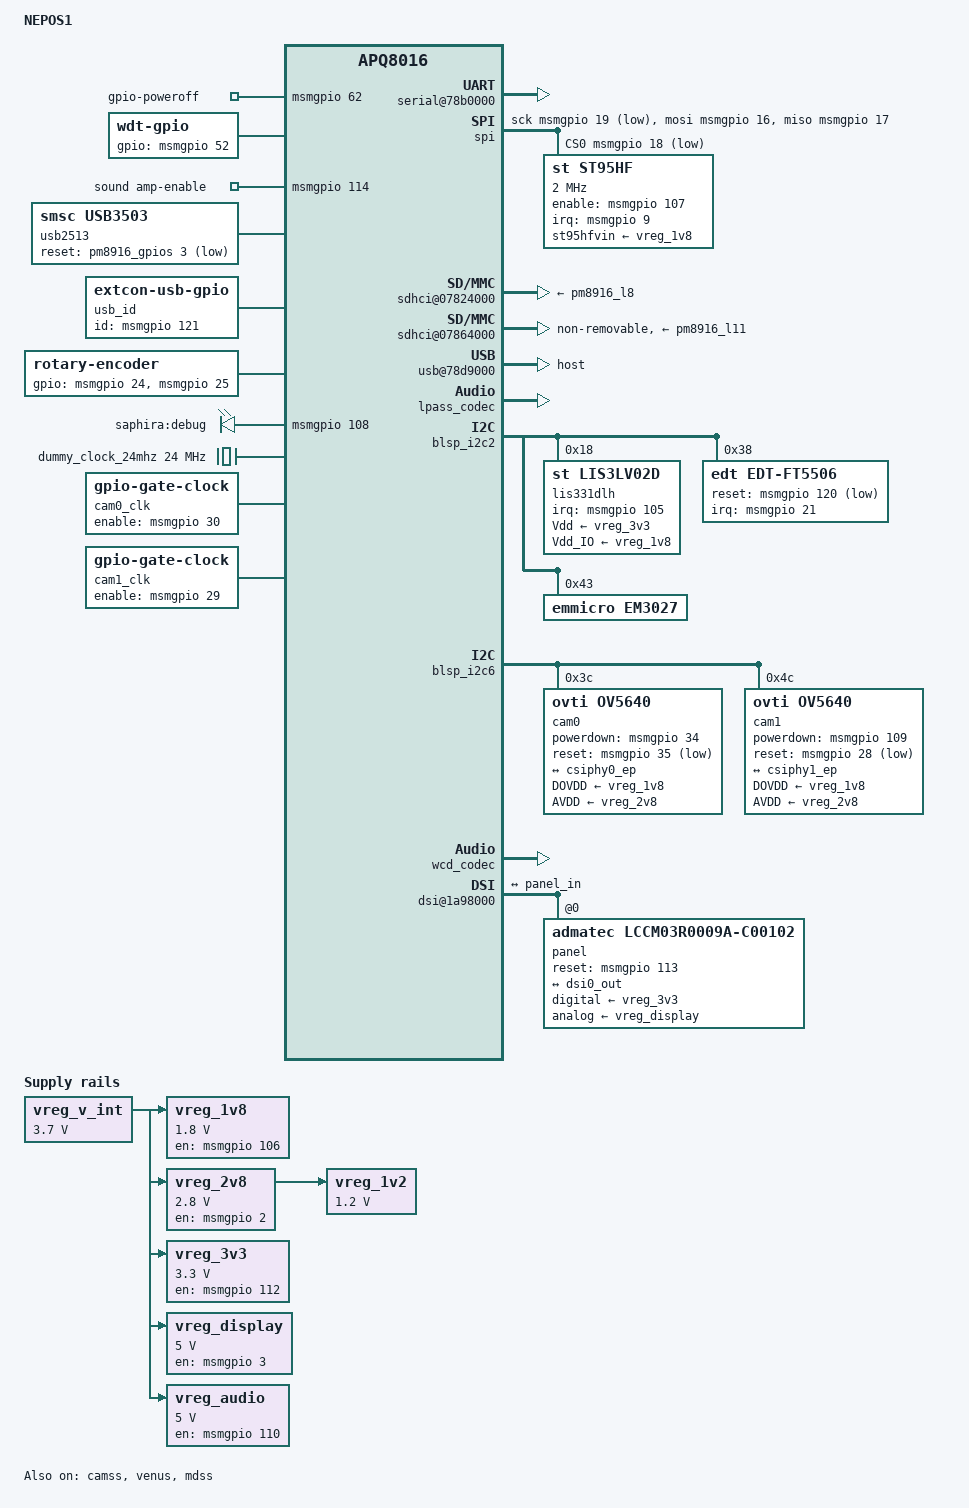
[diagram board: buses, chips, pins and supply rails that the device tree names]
/*
 * Device tree definition for Nepos Saphira tablet
 */

/dts-v1/;

#include "msm8916.dtsi"
#include "pm8916.dtsi"
#include "apq8016-nepos1-pins-0-0.dtsi"
#include "apq8016-sbc-pmic-pins.dtsi"
#include <dt-bindings/gpio/gpio.h>
#include <dt-bindings/input/input.h>
#include <dt-bindings/sound/apq8016-lpass.h>

/ {
	model = "NEPOS1";
	compatible = "qcom,apq8016-sbc", "qcom,apq8016", "qcom,sbc";

	aliases {
		serial0	= &blsp1_uart2;
		serial1	= &blsp1_uart1;
		usid0	= &pm8916_0;
		i2c0	= &blsp_i2c2;
		i2c1	= &blsp_i2c6;
		i2c3	= &blsp_i2c4;
		spi0	= &blsp_spi5;
		spi1	= &blsp_spi3;
	};

	chosen {
		stdout-path = "serial0";
	};

	reserved-memory {
		ramoops@bff00000{
			compatible = "ramoops";
			reg = <0x0 0xbff00000 0x0 0x100000>;

			record-size = <0x20000>;
			console-size = <0x20000>;
			ftrace-size = <0x20000>;
		};
	};

	soc {
		vreg_v_int: gpio_regulator@0 {
			compatible = "regulator-fixed";
			regulator-name = "VIN supply";
			regulator-min-microvolt = <3700000>;
			regulator-max-microvolt = <3700000>;
			regulator-always-on;
		};

		vreg_1v8: gpio_regulator@1 {
			compatible = "regulator-fixed";
			pinctrl-names = "default";
			pinctrl-0 = <&msmgpio_1v8_supply>;
			regulator-name = "1v8 supply";
			regulator-min-microvolt = <1800000>;
			regulator-max-microvolt = <1800000>;
			vin-supply = <&vreg_v_int>;
			gpio = <&msmgpio 106 GPIO_ACTIVE_HIGH>;
			startup-delay-us = <100000>;
			enable-active-high;
			regulator-always-on;
			regulator-boot-on;
		};

		vreg_2v8: gpio_regulator@2 {
			compatible = "regulator-fixed";
			pinctrl-names = "default";
			pinctrl-0 = <&msmgpio_2v8_supply>;
			regulator-name = "2v8 supply";
			regulator-min-microvolt = <2800000>;
			regulator-max-microvolt = <2800000>;
			vin-supply = <&vreg_v_int>;
			gpio = <&msmgpio 2 GPIO_ACTIVE_HIGH>;
			startup-delay-us = <100000>;
			enable-active-high;
		};

		vreg_1v2: gpio_regulator@3 {
			compatible = "regulator-fixed";
			regulator-name = "1v2 supply";
			regulator-min-microvolt = <1200000>;
			regulator-max-microvolt = <1200000>;
			vin-supply = <&vreg_2v8>;
		};

		vreg_3v3: gpio_regulator@4 {
			compatible = "regulator-fixed";
			pinctrl-names = "default";
			pinctrl-0 = <&msmgpio_3v3_supply>;
			regulator-name = "3v3 supply";
			regulator-min-microvolt = <3300000>;
			regulator-max-microvolt = <3300000>;
			vin-supply = <&vreg_v_int>;
			gpio = <&msmgpio 112 GPIO_ACTIVE_HIGH>;
			enable-active-high;
			regulator-always-on;
			regulator-boot-on;
		};

		vreg_display: gpio_regulator@5 {
			compatible = "regulator-fixed";
			pinctrl-names = "default";
			pinctrl-0 = <&msmgpio_display_supply>;
			regulator-name = "5V display supply";
			regulator-min-microvolt = <5000000>;
			regulator-max-microvolt = <5000000>;
			vin-supply = <&vreg_v_int>;
			gpio = <&msmgpio 3 GPIO_ACTIVE_HIGH>;
			enable-active-high;
			startup-delay-us = <5000>;
			regulator-always-on;
			regulator-boot-on;
		};

		vreg_audio: gpio_regulator@6 {
			compatible = "regulator-fixed";
			pinctrl-names = "default";
			pinctrl-0 = <&msmgpio_audio_supply>;
			regulator-name = "audio supply";
			regulator-min-microvolt = <5000000>;
			regulator-max-microvolt = <5000000>;
			vin-supply = <&vreg_v_int>;
			gpio = <&msmgpio 110 GPIO_ACTIVE_HIGH>;
			startup-delay-us = <800>;
			enable-active-high;
		};

		gpio-poweroff {
			compatible = "gpio-poweroff";
			pinctrl-names = "default";
			pinctrl-0 = <&msmgpio_gpio_poweroff>;
			gpios = <&msmgpio 62 GPIO_ACTIVE_HIGH>;
		};

		wdt-gpio {
			compatible = "linux,wdt-gpio";
			pinctrl-names = "default";
			pinctrl-0 = <&msmgpio_wdt_gpio>;
			gpios = <&msmgpio 52 GPIO_ACTIVE_HIGH>;
			hw_algo = "level";
			hw_margin_ms = <1000>;
		};

		dma@7884000 {
			status = "okay";
		};

		serial@78b0000 {
			label = "LS-UART1";
			status = "okay";
			pinctrl-names = "default", "sleep";
			pinctrl-0 = <&blsp1_uart2_default>;
			pinctrl-1 = <&blsp1_uart2_sleep>;
		};

		spi {
			compatible = "spi-gpio";
			#address-cells = <0x1>;
			ranges;

			pinctrl-names = "default";
			pinctrl-0 = <&msmgpio_spi_gpio>;

			gpio-sck = <&msmgpio 19 GPIO_ACTIVE_LOW>;
			gpio-miso = <&msmgpio 17 GPIO_ACTIVE_HIGH>;
			gpio-mosi = <&msmgpio 16 GPIO_ACTIVE_HIGH>;
			cs-gpios = <&msmgpio 18 GPIO_ACTIVE_LOW>;
			num-chipselects = <1>;

			st95hf@0 {
				reg = <0>; // CS0
				compatible = "st,st95hf";
				pinctrl-names = "default";
				pinctrl-0 = <&msmgpio_st95hf>;
				spi-max-frequency = <2000000>;
				enable-gpio = <&msmgpio 107 GPIO_ACTIVE_HIGH>;
				interrupt-parent = <&msmgpio>;
				interrupts = <9 IRQ_TYPE_EDGE_FALLING>;
				st95hfvin-supply = <&vreg_1v8>;
			};
		};

		spi@78b9000 {
			label = "HS-SPI0";
			status = "disabled";
		};

		sdhci@07824000 {
			vmmc-supply = <&pm8916_l8>;
			vqmmc-supply = <&pm8916_l5>;

			pinctrl-names = "default", "sleep";
			pinctrl-0 = <&sdc1_clk_on &sdc1_cmd_on &sdc1_data_on>;
			pinctrl-1 = <&sdc1_clk_off &sdc1_cmd_off &sdc1_data_off>;
			status = "okay";
		};

		sdhci@07864000 {
			status = "okay";
			vmmc-supply = <&pm8916_l11>;
			vqmmc-supply = <&pm8916_l12>;

			pinctrl-names = "default", "sleep";
			pinctrl-0 = <&sdc2_clk_on &sdc2_cmd_on &sdc2_data_on &sdc2_cd_on>;
			pinctrl-1 = <&sdc2_clk_off &sdc2_cmd_off &sdc2_data_off &sdc2_cd_off>;

			non-removable;
			max-frequency = <20000000>;
		};

		usb@78d9000 {
			extcon = <&usb_id>;
			status = "okay";
			adp-disable;
			hnp-disable;
			srp-disable;
			dr_mode = "host";
			pinctrl-names = "default";
			pinctrl-0 = <&usb_sw_sel_pm>;

			ulpi {
				phy {
					v1p8-supply = <&pm8916_l7>;
					v3p3-supply = <&pm8916_l13>;
					extcon = <&usb_id>;
				};
			};
		};

		lpass@07708000 {
			status = "okay";
		};

		lpass_codec: codec {
			status = "okay";
		};

		//
		// Internal Codec
		//	playback - Primary MI2S
		//	capture - Ter MI2S
		//
		// External Primary:
		//	playback - secondary MI2S
		//	capture - Quat MI2S
		//
		// External Secondary:
		//	playback - Quat MI2S
		//	capture - Quat MI2S
		//

		sound: sound {
			compatible = "qcom,apq8016-sbc-sndcard";
			reg = <0x07702000 0x4>, <0x07702004 0x4>;
			reg-names = "mic-iomux", "spkr-iomux";

			status = "okay";
			pinctrl-0 = <&cdc_pdm_lines_act>; // &ext_sec_tlmm_lines_act &ext_mclk_tlmm_lines_act>;
			pinctrl-1 = <&cdc_pdm_lines_sus>; // &ext_sec_tlmm_lines_sus &ext_mclk_tlmm_lines_sus>;
			pinctrl-names = "default", "sleep";
			qcom,model = "DB410c";
			qcom,audio-routing =
				"MIC BIAS Internal2", "Headset Mic",
				"MIC BIAS External1", "Secondary Mic",
				"AMIC2", "MIC BIAS Internal2",
				"AMIC3", "MIC BIAS External1",
				"Ext Spk", "HPHL";
			amp-supply = <&vreg_audio>;
			amp-enable-gpios = <&msmgpio 114 GPIO_ACTIVE_HIGH>;

			internal-codec-playback-dai-link@0 {            /* I2S - Internal codec */
				link-name = "WCD";
				cpu { /* PRIMARY */
					sound-dai = <&lpass MI2S_PRIMARY>;
				};
				codec {
					sound-dai = <&lpass_codec 0>, <&wcd_codec 0>;
				};
			};

			internal-codec-capture-dai-link@0 {             /* I2S - Internal codec */
				link-name = "WCD-Capture";
				cpu { /* PRIMARY */
					sound-dai = <&lpass MI2S_TERTIARY>;
				};
				codec {
					sound-dai = <&lpass_codec 1>, <&wcd_codec 1>;
				};
			};
		};

		wcnss@a21b000 {
			status = "okay";
		};
	};

	usb2513 {
		compatible = "smsc,usb3503";
		reset-gpios = <&pm8916_gpios 3 GPIO_ACTIVE_LOW>;
		initial-mode = <1>;
	};

	usb_id: usb-id {
		compatible = "linux,extcon-usb-gpio";
		id-gpio = <&msmgpio 121 GPIO_ACTIVE_HIGH>;
		pinctrl-names = "default";
		pinctrl-0 = <&usb_id_default>;
	};

	rotary {
		compatible = "rotary-encoder";
		pinctrl-names = "default";
		pinctrl-0 = <&msmgpio_rotary>;
		gpios = <&msmgpio 24 GPIO_ACTIVE_HIGH>,
			<&msmgpio 25 GPIO_ACTIVE_HIGH>;
		linux,axis = <REL_X>;
		rotary-encoder,relative-axis;
		rotary-encoder,steps-per-period = <2>;
	};

	leds {
		compatible = "gpio-leds";
		pinctrl-names = "default";
		pinctrl-0 = <&msmgpio_leds>;

		led@1 {
			label = "saphira:debug";
			gpios = <&msmgpio 108 GPIO_ACTIVE_HIGH>;
			linux,default-trigger = "heartbeat";
			default-state = "off";
		};
	};

	dummy_clock_24mhz: dummy_clock_24mhz {
		compatible = "fixed-clock";
		#clock-cells = <0>;
		clock-frequency = <24000000>;
		clock-accuracy = <100>;
	};

	cam0_clk: cam0_clk {
		pinctrl-names = "default";
		pinctrl-0 = <&msmgpio_cam0_clk>;
		clocks = <&dummy_clock_24mhz>;
		#clock-cells = <0>;
		compatible = "gpio-gate-clock";
		enable-gpios = <&msmgpio 30 GPIO_ACTIVE_HIGH>;
	};

	cam1_clk: cam1_clk {
		pinctrl-names = "default";
		pinctrl-0 = <&msmgpio_cam1_clk>;
		clocks = <&dummy_clock_24mhz>;
		#clock-cells = <0>;
		compatible = "gpio-gate-clock";
		enable-gpios = <&msmgpio 29 GPIO_ACTIVE_HIGH>;
	};
};

&blsp_i2c2 {
	status = "okay";

	lis331dlh@18 {
		status = "okay";
		reg = <0x18>;
		compatible = "st,lis3lv02d";
		pinctrl-names = "default";
		pinctrl-0 = <&msmgpio_lis331dlh>;
		Vdd-supply = <&vreg_3v3>;
		Vdd_IO-supply = <&vreg_1v8>;
		interrupt-parent = <&msmgpio>;
		interrupts = <105 IRQ_TYPE_EDGE_FALLING>;

		st,irq1-click;
		st,wakeup-x-lo;
		st,wakeup-x-hi;
		st,wakeup-z-lo;
		st,wakeup-z-hi;
		st,wakeup-threshold = <50>;
	};

	edt-ft5506@38 {
		compatible = "edt,edt-ft5506";
		reg = <0x38>;
		pinctrl-names = "default";
		pinctrl-0 = <&msmgpio_touch>;
		interrupt-parent = <&msmgpio>;
		interrupts = <21 IRQ_TYPE_EDGE_FALLING>;
		reset-gpios = <&msmgpio 120 GPIO_ACTIVE_LOW>;
		touchscreen-size-x = <1900>;
		touchscreen-size-y = <1200>;
		touchscreen-inverted-x;
		touchscreen-swapped-x-y;
	};

	// STM32 software emulation of em3027 RTC clock
	em3027@43 {
		compatible = "emmicro,em3027";
		reg = <0x43>;
	};
};

&blsp_i2c6 {
	status = "okay";

	cam0: ov5640@16 {
		compatible = "ovti,ov5640";
		reg = <0x3c>;

		pinctrl-names = "default";
		pinctrl-0 = <&msmgpio_cam0>;

		clocks = <&cam0_clk>;
		clock-names = "xclk";

		powerdown-gpios = <&msmgpio 34 GPIO_ACTIVE_HIGH>;
		reset-gpios = <&msmgpio 35 GPIO_ACTIVE_LOW>;

		DOVDD-supply = <&vreg_1v8>;
		AVDD-supply = <&vreg_2v8>;

		port {
			cam0_ep: endpoint {
				clock-lanes = <1>;
				data-lanes = <0 2>;
				remote-endpoint = <&csiphy0_ep>;
			};
		};
	};

	cam1: ov5640@60 {
		compatible = "ovti,ov5640";
		reg = <0x4c>;

		pinctrl-names = "default";
		pinctrl-0 = <&msmgpio_cam1>;

		clocks = <&cam1_clk>;
		clock-names = "xclk";

		powerdown-gpios = <&msmgpio 109 GPIO_ACTIVE_HIGH>;
		reset-gpios = <&msmgpio 28 GPIO_ACTIVE_LOW>;

		DOVDD-supply = <&vreg_1v8>;
		AVDD-supply = <&vreg_2v8>;

		port {
			cam1_ep: endpoint {
				clock-lanes = <1>;
				data-lanes = <0 2>;
				remote-endpoint = <&csiphy1_ep>;
			};
		};
	};
};

&camss {
	status = "okay";

	ports {
		port@0 {
			reg = <0>;
			csiphy0_ep: endpoint {
				status = "okay";
				clock-lanes = <1>;
				data-lanes = <0 2>;
				remote-endpoint = <&cam0_ep>;
			};
		};

		port@1 {
			reg = <1>;
			csiphy1_ep: endpoint {
				status = "okay";
				clock-lanes = <1>;
				data-lanes = <0 2>;
				remote-endpoint = <&cam1_ep>;
			};
		};
	};
};

&venus {
	status = "okay";
};

&wcd_codec {
	status = "okay";
};

&mdss {
	status = "okay";

	mdp@1a01000 {
		status = "okay";
	};

	dsi@1a98000 {
		status = "okay";

		vdda-supply = <&pm8916_l2>;
		vddio-supply = <&pm8916_l6>;

		ports {
			port@1 {
				endpoint {
					remote-endpoint = <&panel_in>;
					data-lanes = <0 1 2 3>;
				};
			};
		};

		panel@0 {
			reg = <0>;
			status = "okay";
			pinctrl-names = "default";
			pinctrl-0 = <&msmgpio_display>;
			compatible = "admatec,lccm03r0009a-c00102";

			reset-gpios = <&msmgpio 113 GPIO_ACTIVE_HIGH>;
			digital-supply = <&vreg_3v3>;
			analog-supply = <&vreg_display>;

			port {
				panel_in: endpoint {
					remote-endpoint = <&dsi0_out>;
				};
			};
		};
	};

	dsi-phy@1a98300 {
		status = "okay";
		vddio-supply = <&pm8916_l6>;
	};
};

&smd_rpm_regulators {
	vdd_l1_l2_l3-supply = <&pm8916_s3>;
	vdd_l5-supply = <&pm8916_s3>;
	vdd_l4_l5_l6-supply = <&pm8916_s4>;
	vdd_l7-supply = <&pm8916_s4>;

	s1 {
		regulator-min-microvolt = <375000>;
		regulator-max-microvolt = <1562000>;
	};

	s3 {
		regulator-min-microvolt = <375000>;
		regulator-max-microvolt = <1562000>;
	};

	s4 {
		regulator-min-microvolt = <1800000>;
		regulator-max-microvolt = <1800000>;

		regulator-always-on;
		regulator-boot-on;
	};

	l1 {
		regulator-min-microvolt = <375000>;
		regulator-max-microvolt = <1525000>;
	};

	l2 {
		regulator-min-microvolt = <1200000>;
		regulator-max-microvolt = <1200000>;
	};

	l3 {
		regulator-min-microvolt = <375000>;
		regulator-max-microvolt = <1525000>;
	};

	l4 {
		regulator-min-microvolt = <1750000>;
		regulator-max-microvolt = <3337000>;
	};

	l5 {
		regulator-min-microvolt = <1750000>;
		regulator-max-microvolt = <3337000>;
	};

	l6 {
		regulator-min-microvolt = <1800000>;
		regulator-max-microvolt = <1800000>;
	};

	l7 {
		regulator-min-microvolt = <1750000>;
		regulator-max-microvolt = <3337000>;
	};

	l8 {
		regulator-min-microvolt = <1750000>;
		regulator-max-microvolt = <3337000>;
	};

	l9 {
		regulator-min-microvolt = <1750000>;
		regulator-max-microvolt = <3337000>;
	};

	l10 {
		regulator-min-microvolt = <1750000>;
		regulator-max-microvolt = <3337000>;
	};

	l11 {
		regulator-min-microvolt = <1750000>;
		regulator-max-microvolt = <3337000>;
	};

	l12 {
		regulator-min-microvolt = <1750000>;
		regulator-max-microvolt = <3337000>;
	};

	l13 {
		regulator-min-microvolt = <1750000>;
		regulator-max-microvolt = <3337000>;
	};

	l14 {
		regulator-min-microvolt = <1750000>;
		regulator-max-microvolt = <3337000>;
	};

	l15 {
		regulator-min-microvolt = <1750000>;
		regulator-max-microvolt = <3337000>;
		regulator-always-on;
	};

	l16 {
		regulator-min-microvolt = <1800000>;
		regulator-max-microvolt = <1800000>;
		regulator-always-on;
	};

	l17 {
		regulator-min-microvolt = <3300000>;
		regulator-max-microvolt = <3300000>;
	};

	l18 {
		regulator-min-microvolt = <1750000>;
		regulator-max-microvolt = <3337000>;
	};
};

